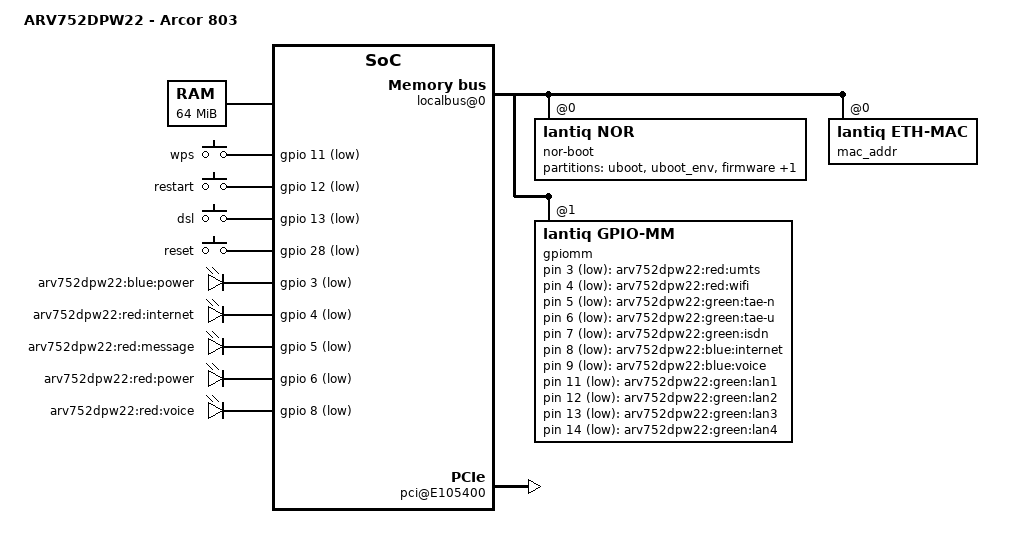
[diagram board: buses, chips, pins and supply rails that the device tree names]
/dts-v1/;

/include/ "danube.dtsi"

/ {
	model = "ARV752DPW22 - Arcor 803";

	chosen {
		bootargs = "console=ttyLTQ0,115200 init=/etc/preinit";

		leds {
			boot = &power_red;
			failsafe = &power_blue;
			running = &power_red;

			internet = &internet_red;
			wifi = &wifi;
		};
	};

	memory@0 {
		reg = <0x0 0x4000000>;
	};

	sram@1F000000 {
		vmmc@107000 {
			status = "okay";
			gpios = <&gpiomm 1 0>;
		};
	};

	fpi@10000000 {
		localbus@0 {
			nor-boot@0 {
				compatible = "lantiq,nor";
				bank-width = <2>;
				reg = <0 0x0 0x800000>;
				#address-cells = <1>;
				#size-cells = <1>;

				partition@0 {
					label = "uboot";
					reg = <0x00000 0x30000>;
					read-only;
				};

				partition@10000 {
					label = "uboot_env";
					reg = <0x30000 0x10000>;
					read-only;
				};

				partition@20000 {
					label = "firmware";
					reg = <0x40000 0x7b0000>;
				};

				partition@7f0000 {
					label = "board_config";
					reg = <0x7f0000 0x10000>;
					read-only;
				};
			};

			mac_addr {
				compatible = "lantiq,eth-mac";
				reg = <0 0x7f0016 0x6>;
				mac-increment = <2>;
			};

			gpiomm: gpiomm@4000000 {
				compatible = "lantiq,gpio-mm";
				reg = <1 0x0 0x10 >;
				#address-cells = <1>;
				#size-cells = <1>;
				#gpio-cells = <2>;
				gpio-controller;
				lantiq,shadow = <3>;
			};
		};

		gpio: pinmux@E100B10 {
			pinctrl-names = "default";
			pinctrl-0 = <&state_default>;

			state_default: pinmux {
				ebu {
					lantiq,groups = "ebu cs1";
					lantiq,function = "ebu";
				};
				exin {
					lantiq,groups = "exin1";
					lantiq,function = "exin";
					lantiq,pull = <2>;
					lantiq,output = <0>;
				};
				pci_in {
					lantiq,groups = "req1";
					lantiq,function = "pci";
					lantiq,pull = <2>;
					lantiq,output = <0>;
				};
				pci_out {
					lantiq,groups = "gnt1";
					lantiq,function = "pci";
					lantiq,open-drain = <1>;
					lantiq,output = <1>;
				};
				pci_rst {
					lantiq,pins = "io21";
					lantiq,open-drain = <1>;
					lantiq,output = <1>;
				};
				leds {
					lantiq,pins = "io3", "io5", "io6", "io8";
					lantiq,open-drain = <1>;
					lantiq,output = <1>;
				};
				buttons {
					lantiq,pins = "io11", "io12", "io13", "io28";
					lantiq,pull = <2>;
					lantiq,output = <0>;
				};
			};
		};

		ifxhcd@E101000 {
			status = "okay";
			gpios = <&gpiomm 0 0>;
		};

		etop@E180000 {
			phy-mode = "mii";
		};

		pci@E105400 {
			status = "okay";
			lantiq,external-clock;
			interrupt-map = <
                                0x7000 0 0 1 &icu0 30
		                0x7800 0 0 1 &icu0 135
			        0x7800 0 0 2 &icu0 135
			        0x7800 0 0 3 &icu0 135
			>;
			gpio-reset = <&gpio 21 0>;
			req-mask = <0x3>;
		};

	};

	ralink_eep {
		compatible = "ralink,eeprom";
		ralink,eeprom = "RT2860.eeprom";
	};

	gpio-keys-polled {
		compatible = "gpio-keys-polled";
		#address-cells = <1>;
		#size-cells = <0>;
		poll-interval = <100>;

		wps {
			label = "wps";
			gpios = <&gpio 11 1>;
			linux,code = <0x211>;
		};
		restart {
			label = "restart";
			gpios = <&gpio 12 1>;
			linux,code = <0x110>;
		};
		dsl {
			label = "dsl";
			gpios = <&gpio 13 1>;
			linux,code = <0x111>;
		};
		reset {
			label = "reset";
			gpios = <&gpio 28 1>;
			linux,code = <0x198>;
		};
	};

	gpio-leds {
		compatible = "gpio-leds";
		power_blue: power1 {
			label = "arv752dpw22:blue:power";
			gpios = <&gpio 3 1>;
		};
		internet_red: internet {
			label = "arv752dpw22:red:internet";
			gpios = <&gpio 4 1>;
		};
		message {
			label = "arv752dpw22:red:message";
			gpios = <&gpio 5 1>;
		};
		power_red: power {
			label = "arv752dpw22:red:power";
			gpios = <&gpio 6 1>;
			default-state = "keep";
		};
		voice1 {
			label = "arv752dpw22:red:voice";
			gpios = <&gpio 8 1>;
		};
		microphone {
			label = "arv752dpw22:red:umts";
			gpios = <&gpiomm 3 1>;
		};
		wifi: wifi {
			label = "arv752dpw22:red:wifi";
			gpios = <&gpiomm 4 1>;
		};
		fxs1 {
			label = "arv752dpw22:green:tae-n";
			gpios = <&gpiomm 5 1>;
		};
		fxs2 {
			label = "arv752dpw22:green:tae-u";
			gpios = <&gpiomm 6 1>;
		};
		fxo {
			label = "arv752dpw22:green:isdn";
			gpios = <&gpiomm 7 1>;
		};
		internet2 {
			label = "arv752dpw22:blue:internet";
			gpios = <&gpiomm 8 1>;
		};
		voice2 {
			label = "arv752dpw22:blue:voice";
			gpios = <&gpiomm 9 1>;
		};
		eth1 {
			 label = "arv752dpw22:green:lan1";
			 gpios = <&gpiomm 11 1>;
		};
		eth2 {
			label = "arv752dpw22:green:lan2";
			gpios = <&gpiomm 12 1>;
		};
		eth3 {
			label = "arv752dpw22:green:lan3";
			gpios = <&gpiomm 13 1>;
		};
		eth4 {
			label = "arv752dpw22:green:lan4";
			gpios = <&gpiomm 14 1>;
		};
	};
};
